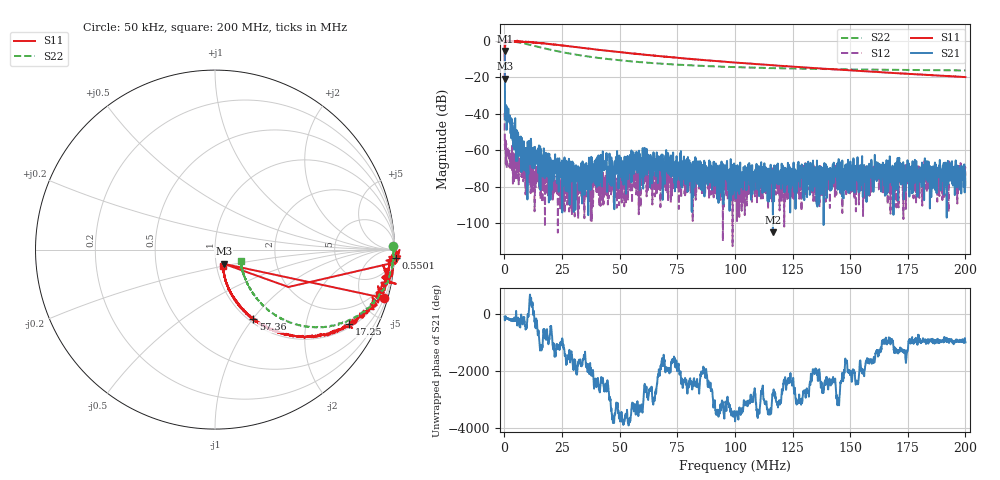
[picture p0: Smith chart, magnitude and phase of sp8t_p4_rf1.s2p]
! 26-Feb-26 11:50:10 AM
! E:\VNA_MEASUREMENTS\SP8T\SP8T_P4_RF1.S2P
! CHANNEL.1
! TR.MEASUREMENT
! CORRECTED.DATA
# GHZ S RI R 50.0
! FREQ.GHZ  S11RE  S11IM  S21RE  S21IM  S12RE  S12IM  S22RE  S22IM
!; PortSelection: Port_12
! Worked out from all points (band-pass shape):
!   2000 points, 50 kHz to 200 MHz, reference 50 ohm
!   highest |S21| = -5.46 dB at 150 kHz (marker M1); lowest = -104.9 dB at 116.5 MHz (marker M2)
!   |S21| within 3 dB of the highest: start of sweep to 158 kHz
!   lowest |S11| = -20.6 dB at 150 kHz (marker M3), VSWR 1.21, Z = 54.4 - j8.71 ohm
!   |S11| at or under -10 dB: 98.12 kHz to 226.6 kHz (128.5 kHz wide, 79.1 % of centre); 82.09699 MHz to 82.43629 MHz (339.3 kHz wide, 0.412 % of centre); 82.49 MHz to end of sweep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
!   |S22| runs from -16.2 to 0.0 dB; largest |S21 - S12| = 0.53
!   S11 on the Smith chart (normalised r, x): 50 kHz: 0.51, -7.08; 550.1 kHz: -7, -43; 17.25 MHz: 1.15, -3.52; 57.36 MHz: 1.05, -1.01; 200 MHz: 1.08, -0.20
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5e-05  0.9424 -0.2703  -0.1437 -0.5113  0.00193 -0.0104  0.9931 0.0193
0.000150025  0.0492 -0.0793  -0.3274 0.4212  0.000777 0.00121  0.9925 -0.00905
0.000550125  1.007 -0.046  -0.00711 -0.00967  -0.000164 -0.000405  0.992 -0.0312
0.0012503  0.9848 -0.0498  -0.00977 -0.00225  -0.00099 -0.000225  0.9917 -0.0841
0.003350825  0.9355 -0.0879  -0.00267 0.00466  0.000491 0.000389  0.9483 -0.1998
0.008652151  0.9122 -0.2487  4.42e-05 0.000281  0.000577 2.76e-05  0.752 -0.3907
0.0172543  0.7474 -0.414  0.00068 6.45e-05  -0.000187 1.87e-05  0.468 -0.4211
0.03345835  0.4397 -0.4781  7.01e-05 -7.31e-05  -6.91e-05 -2.05e-05  0.2602 -0.3029
0.04336083  0.3229 -0.445  0.000224 -0.000417  5.22e-05 7.4e-05  0.2151 -0.2478
0.04686171  0.2867 -0.4305  0.000452 -9.34e-05  -6.01e-05 -0.000131  0.2042 -0.2324
0.04896223  0.2725 -0.4222  0.000124 -0.000303  -7.97e-05 0.000154  0.1992 -0.2249
0.05736433  0.2132 -0.3859  0.000362 -7.62e-05  -4e-05 0.000327  0.1835 -0.1958
0.05966491  0.2026 -0.3801  -0.000388 -0.000141  0.000103 0.000123  0.1801 -0.1884
0.06676668  0.1683 -0.3504  0.000363 -4.53e-05  -3.2e-06 -0.000129  0.1721 -0.1705
0.100075  0.0877 -0.2431  -9.68e-05 5.3e-06  -2.89e-05 2.44e-05  0.1526 -0.1168
0.1164791  0.0709 -0.2057  5.7e-06 -4e-07  -8.92e-05 -1.6e-05  0.1491 -0.1012
0.1285821  0.0616 -0.1819  -4.95e-05 0.000356  -5.44e-05 0.000207  0.1475 -0.0928
0.1333833  0.0585 -0.1729  -0.000116 -0.000106  8.71e-05 2.11e-05  0.1471 -0.0902
0.1666917  0.0486 -0.1259  -8.47e-05 0.000274  5.41e-05 9.16e-05  0.1442 -0.0739
0.1931983  0.0468 -0.0986  -0.000247 -7.22e-05  -0.000251 0.000191  0.1423 -0.065
0.1956989  0.0456 -0.0956  -0.000248 0.000291  8.81e-05 6.09e-05  0.1429 -0.0646
0.2  0.0465 -0.0911  2.65e-05 0.000106  -7.57e-05 0.000338  0.1423 -0.0628
